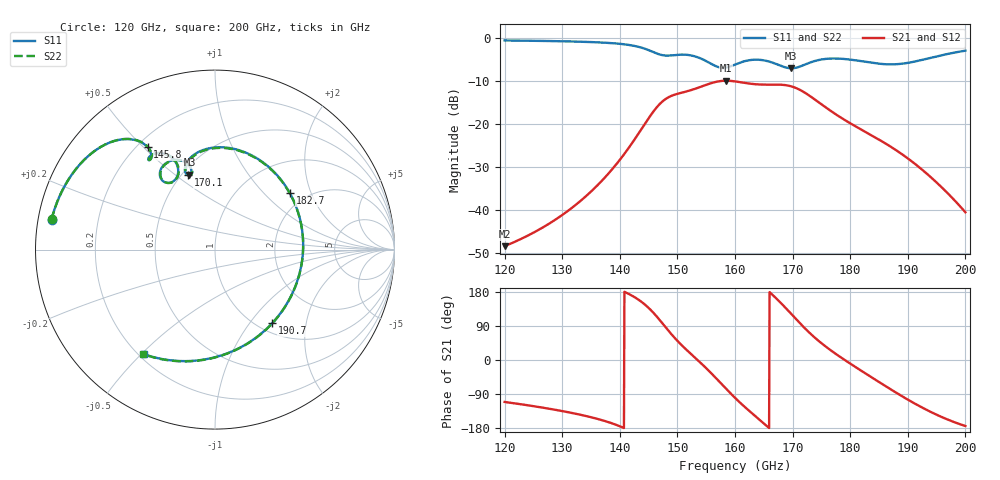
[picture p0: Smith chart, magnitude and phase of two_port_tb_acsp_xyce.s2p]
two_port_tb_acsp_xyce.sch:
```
v {xschem version=3.4.8RC file_version=1.3}
G {}
K {}
V {}
S {}
F {}
E {}
T {SPDX-FileCopyrightText: 2026 Simon Dorrer
SPDX-License-Identifier: Apache-2.0
} 1820 -140 0 0 0.4 0.4 {}
T {Xyce Testbench for AC S-parameter analysis - Two-Port} 540 -1710 0 0 1 1 {}
N 1040 -680 1040 -620 {lab=v1}
N 1040 -560 1040 -500 {lab=GND}
N 960 -680 1040 -680 {lab=v1}
N 1320 -680 1400 -680 {lab=v2}
N 1400 -560 1400 -500 {lab=GND}
N 1400 -680 1400 -620 {lab=v2}
N 1400 -680 1480 -680 {lab=v2}
N 1040 -680 1120 -680 {lab=v1}
C {devices/code_shown.sym} 200 -1390 0 0 {name=XYCE
only_toplevel=true
lock=false
value="
.include ../../../netlist/xyce/two_port.cir
.include ../sim_range.cir

* User Constants
* f_min / f_max come from ../sim_range.cir (.param),
* auto-synced by snp2le to the band it fitted.
* edit that file for a standalone run.

* Xschem's ground symbol netlists node GND, which Xyce takes as ground only with this.
.PREPROCESS REPLACEGROUND TRUE

* AC S-Parameter Analysis
* Xyce writes S-parameters only as a Touchstone file, which snp2le imports.
.AC LIN 1001 \{f_min\} \{f_max\}
.LIN SPARCALC=1 FORMAT=TOUCHSTONE2 DATAFORMAT=RI FILE=../plot_simulations/data/@schname\\\\.s2p
"}
C {title-3.sym} 0 0 0 0 {name=l2 author="Simon Dorrer" rev=1.0 lock=true}
C {lab_pin.sym} 1480 -680 0 1 {name=p3 sig_type=std_logic lab=v2}
C {devices/lab_pin.sym} 960 -680 0 0 {name=l19 sig_type=std_logic lab=v1
}
C {devices/gnd.sym} 1040 -500 0 0 {name=l39 lab=GND}
C {devices/vsource.sym} 1040 -590 0 1 {name=P1 value="port=1 z0=50"
}
C {devices/gnd.sym} 1400 -500 0 0 {name=l3 lab=GND}
C {devices/launcher.sym} 1840 -1380 0 0 {name=h2
descr="Simulate Xyce"
tclcommand="
# Setup the default simulation commands if not already set up
# for example by already launched simulations.
set_sim_defaults

# change the simulator to be used (#3 in spice category is Xyce batch)
set sim(spice,default) 3
xschem set netlist_type spice

# run netlist and simulation
xschem netlist
simulate
"}
C {devices/vsource.sym} 1400 -590 0 0 {name=P2 value="port=2 z0=50"
}
C {two_port.sym} 1220 -680 0 0 {name=x1
}
```
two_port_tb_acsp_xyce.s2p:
[Version] 2.0
# Hz S RI R 50
[Number of Ports] 2
[Two-Port Data Order] 12_21
[Reference] 50 50
!  Freq  ReS11  ImS11  ReS12  ImS12  ReS21  ImS21  ReS22  ImS22
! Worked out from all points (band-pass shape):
!   1001 points, 120 GHz to 200 GHz, reference 50 ohm
!   highest |S21| = -10.01 dB at 158.5 GHz (marker M1); lowest = -48.4 dB at 120 GHz (marker M2)
!   |S21| within 3 dB of the highest: 150.1 GHz to 172.4 GHz (22.26 GHz wide, 13.8 % of centre)
!   lowest |S11| = -7.1 dB at 169.8 GHz (marker M3), VSWR 2.57, Z = 27.2 + j28.2 ohm
!   |S11| at or under -10 dB: nowhere
!   |S22| runs from -7.2 to -0.7 dB; largest |S21 - S12| = 1.6e-08
!   S11 on the Smith chart (normalised r, x): 120 GHz: 0.04, +0.09; 145.8 GHz: 0.24, +0.51; 170.1 GHz: 0.54, +0.56; 182.7 GHz: 1.66, +1.43; 190.7 GHz: 1.16, -1.30; 200 GHz: 0.22, -0.51
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[Number of Frequencies] 11
[Network Data]
1.2e11  -0.9109 0.167  -0.00135 -0.00356  -0.00135 -0.00356  -0.9107 0.1678
1.3432e11  -0.7553 0.4718  -0.0127 -0.00777  -0.0127 -0.00777  -0.7542 0.4731
1.4576e11  -0.3747 0.5696  -0.0801 0.1108  -0.0801 0.1108  -0.3723 0.5703
1.5368e11  -0.2604 0.5249  0.2628 -0.0117  0.2628 -0.0117  -0.257 0.5252
1.5848e11  -0.252 0.3724  0.0743 -0.3072  0.0743 -0.3072  -0.2491 0.3718
1.6e11  -0.2951 0.3868  -0.0531 -0.3058  -0.0531 -0.3058  -0.2922 0.3865
1.6976e11  -0.1427 0.4166  -0.1427 0.2315  -0.1427 0.2315  -0.1381 0.4131
1.7008e11  -0.1479 0.4157  -0.119 0.2399  -0.119 0.2399  -0.1435 0.4121
1.8272e11  0.4173 0.3143  0.0646 -0.0471  0.0646 -0.0471  0.4217 0.3041
1.9072e11  0.3187 -0.41  -0.0129 -0.0342  -0.0129 -0.0342  0.3112 -0.4194
2e11  -0.3978 -0.5819  -0.00936 -0.000954  -0.00936 -0.000954  -0.4039 -0.5811
[End]
